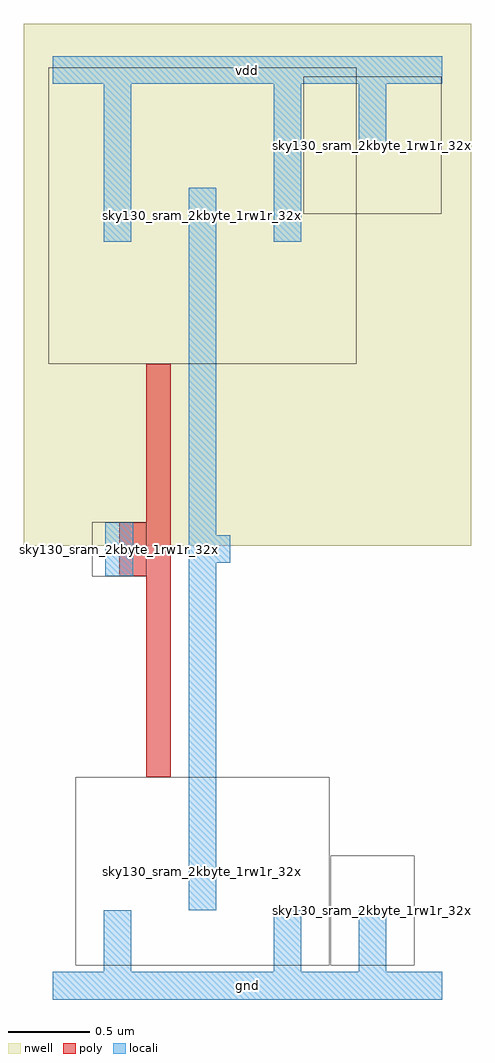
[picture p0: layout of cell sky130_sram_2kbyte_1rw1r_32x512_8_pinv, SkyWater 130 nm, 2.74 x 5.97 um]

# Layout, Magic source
magic
tech sky130A
magscale 1 2
<< nwell >>
rect -36 538 512 1177
<< poly >>
rect 114 567 144 761
rect 81 501 144 567
rect 114 255 144 501
<< locali >>
rect 0 1103 476 1137
rect 62 910 96 1103
rect 64 501 98 567
rect 166 551 200 976
rect 270 910 304 1103
rect 374 1028 408 1103
rect 166 517 217 551
rect 166 92 200 517
rect 62 17 96 92
rect 270 17 304 92
rect 374 17 408 92
rect 0 -17 476 17
use sky130_sram_2kbyte_1rw1r_32x512_8_contact_16  sky130_sram_2kbyte_1rw1r_32x512_8_contact_16_0
transform 1 0 48 0 1 501
box 0 0 66 66
use sky130_sram_2kbyte_1rw1r_32x512_8_contact_29  sky130_sram_2kbyte_1rw1r_32x512_8_contact_29_0
transform 1 0 366 0 1 51
box -26 -26 76 108
use sky130_sram_2kbyte_1rw1r_32x512_8_contact_28  sky130_sram_2kbyte_1rw1r_32x512_8_contact_28_0
transform 1 0 366 0 1 987
box -59 -43 109 125
use sky130_sram_2kbyte_1rw1r_32x512_8_nmos_m2_w0_740_sli_dli_da_p  sky130_sram_2kbyte_1rw1r_32x512_8_nmos_m2_w0_740_sli_dli_da_p_0
transform 1 0 54 0 1 51
box -26 -26 284 204
use sky130_sram_2kbyte_1rw1r_32x512_8_pmos_m2_w1_260_sli_dli_da_p  sky130_sram_2kbyte_1rw1r_32x512_8_pmos_m2_w1_260_sli_dli_da_p_0
transform 1 0 54 0 1 817
box -59 -56 317 306
<< labels >>
rlabel locali s 81 534 81 534 4 A
rlabel locali s 200 534 200 534 4 Z
rlabel locali s 238 0 238 0 4 gnd
rlabel locali s 238 1120 238 1120 4 vdd
<< properties >>
string FIXED_BBOX 0 0 476 1120
<< end >>
